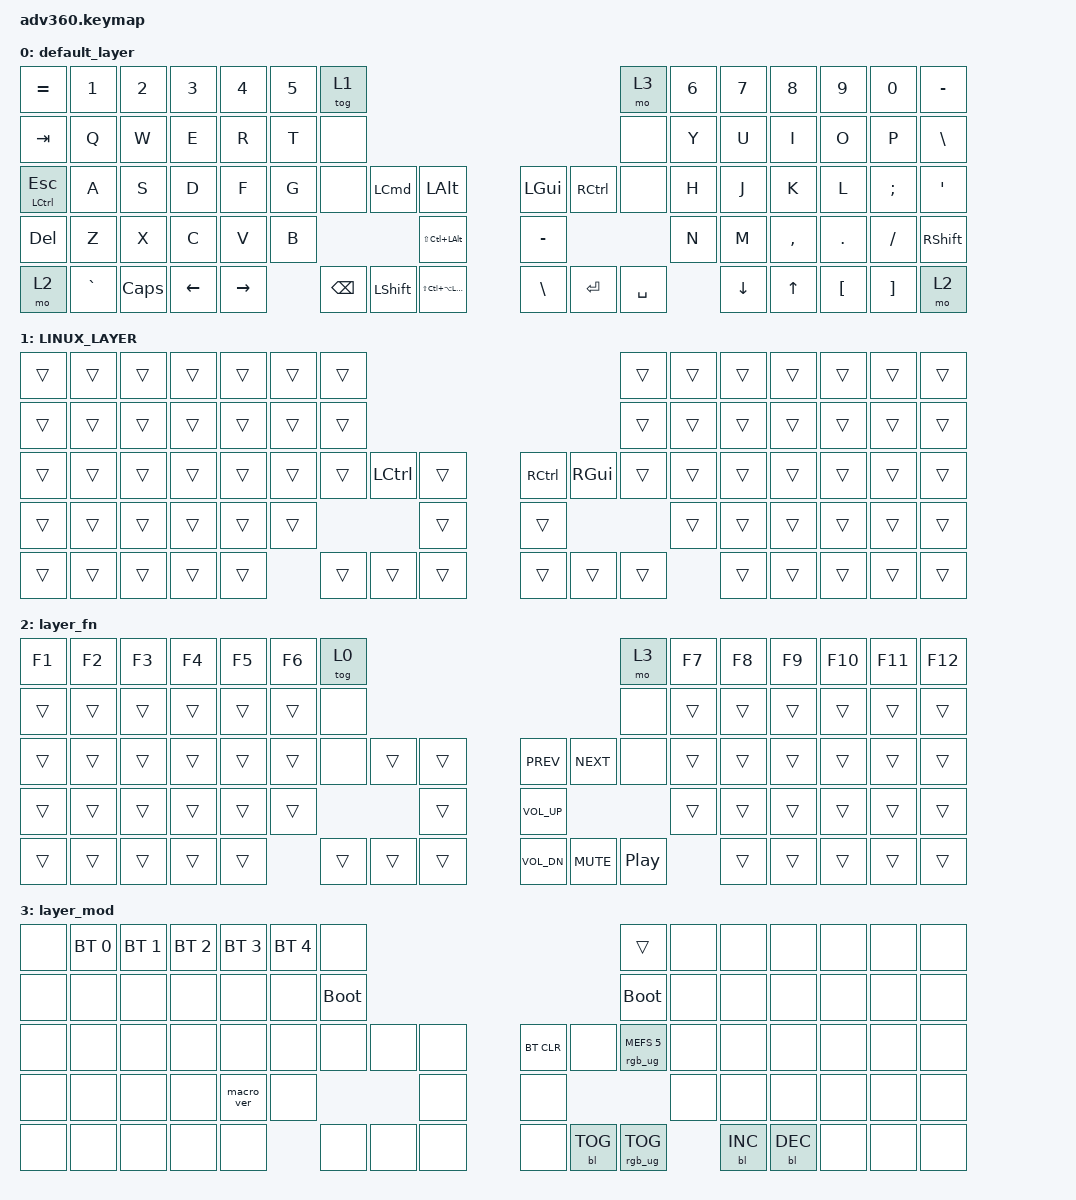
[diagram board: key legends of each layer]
/*
 * Copyright (c) 2020 The ZMK Contributors
 *
 * SPDX-License-Identifier: MIT
 */
/* THIS FILE WAS GENERATED!
 *
 * This file was generated automatically. You may or may not want to
 * edit it directly.
 */

#include <behaviors.dtsi>
#include <dt-bindings/zmk/backlight.h>
#include <dt-bindings/zmk/bt.h>
#include <dt-bindings/zmk/keys.h>
#include <dt-bindings/zmk/rgb.h>

/ {
    behaviors {
        #include "macros.dtsi"
    #include "version.dtsi"

        hm: homerow_mods {
            compatible = "zmk,behavior-hold-tap";
            label = "HOMEROW_MODS";
            #binding-cells = <2>;
            tapping-term-ms = <200>;
            quick_tap_ms = <175>;
            flavor = "tap-preferred";
            bindings = <&kp>, <&kp>;
        };
    };

    keymap {
        compatible = "zmk,keymap";

        default_layer {
            bindings = <
&kp EQUAL         &kp N1     &kp N2    &kp N3    &kp N4     &kp N5  &tog 1                                                               &mo 3      &kp N6  &kp N7    &kp N8     &kp N9    &kp N0    &kp MINUS
&kp TAB           &kp Q      &kp W     &kp E     &kp R      &kp T   &none                                                                &none      &kp Y   &kp U     &kp I      &kp O     &kp P     &kp BSLH
&mt LCTRL ESCAPE  &kp A      &kp S     &kp D     &kp F      &kp G   &none     &kp LCMD   &kp LALT                  &kp LGUI   &kp RCTRL  &none      &kp H   &kp J     &kp K      &kp L     &kp SEMI  &kp SQT
&kp DELETE        &kp Z      &kp X     &kp C     &kp V      &kp B                        &kp LS(LC(LALT))          &kp MINUS                        &kp N   &kp M     &kp COMMA  &kp DOT   &kp FSLH  &kp RSHFT
&mo 2             &kp GRAVE  &kp CAPS  &kp LEFT  &kp RIGHT          &kp BSPC  &kp LSHFT  &kp LS(LC(LA(LGUI)))      &kp BSLH   &kp ENTER  &kp SPACE          &kp DOWN  &kp UP     &kp LBKT  &kp RBKT  &mo 2
            >;
        };

        LINUX_LAYER {
            bindings = <
&trans  &trans  &trans  &trans  &trans  &trans  &trans                                              &trans  &trans  &trans  &trans  &trans  &trans  &trans
&trans  &trans  &trans  &trans  &trans  &trans  &trans                                              &trans  &trans  &trans  &trans  &trans  &trans  &trans
&trans  &trans  &trans  &trans  &trans  &trans  &trans  &kp LCTRL  &trans      &kp RCTRL  &kp RGUI  &trans  &trans  &trans  &trans  &trans  &trans  &trans
&trans  &trans  &trans  &trans  &trans  &trans                     &trans      &trans                       &trans  &trans  &trans  &trans  &trans  &trans
&trans  &trans  &trans  &trans  &trans          &trans  &trans     &trans      &trans     &trans    &trans          &trans  &trans  &trans  &trans  &trans
            >;
        };

        layer_fn {
            bindings = <
&kp F1  &kp F2  &kp F3  &kp F4  &kp F5  &kp F6  &tog 0                                                &mo 3     &kp F7  &kp F8  &kp F9  &kp F10  &kp F11  &kp F12
&trans  &trans  &trans  &trans  &trans  &trans  &none                                                 &none     &trans  &trans  &trans  &trans   &trans   &trans
&trans  &trans  &trans  &trans  &trans  &trans  &none   &trans  &trans      &kp C_PREV    &kp C_NEXT  &none     &trans  &trans  &trans  &trans   &trans   &trans
&trans  &trans  &trans  &trans  &trans  &trans                  &trans      &kp C_VOL_UP                        &trans  &trans  &trans  &trans   &trans   &trans
&trans  &trans  &trans  &trans  &trans          &trans  &trans  &trans      &kp C_VOL_DN  &kp C_MUTE  &kp C_PP          &trans  &trans  &trans   &trans   &trans
            >;
        };

        layer_mod {
            bindings = <
&none  &bt BT_SEL 0  &bt BT_SEL 1  &bt BT_SEL 2  &bt BT_SEL 3  &bt BT_SEL 4  &none                                                  &trans                  &none  &none       &none       &none  &none  &none
&none  &none         &none         &none         &none         &none         &bootloader                                            &bootloader             &none  &none       &none       &none  &none  &none
&none  &none         &none         &none         &none         &none         &none        &none  &none      &bt BT_CLR  &none       &rgb_ug RGB_MEFS_CMD 5  &none  &none       &none       &none  &none  &none
&none  &none         &none         &none         &macro_ver    &none                             &none      &none                                           &none  &none       &none       &none  &none  &none
&none  &none         &none         &none         &none                       &none        &none  &none      &none       &bl BL_TOG  &rgb_ug RGB_TOG                &bl BL_INC  &bl BL_DEC  &none  &none  &none
            >;
        };
    };
};
